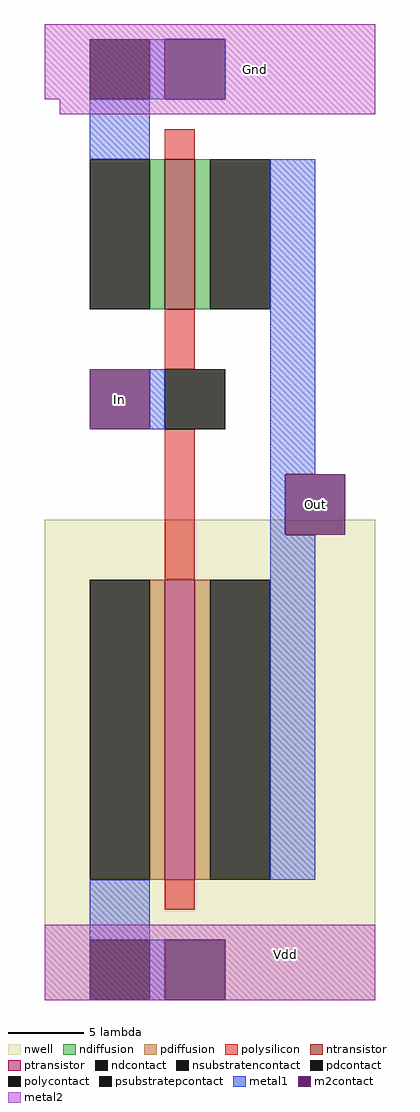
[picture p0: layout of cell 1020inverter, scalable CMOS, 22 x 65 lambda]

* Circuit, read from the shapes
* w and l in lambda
.subckt 1020inverter Gnd In Out Vdd
M1 Out In Gnd Gnd nfet w=10 l=2
M2 Out In Vdd Vdd pfet w=20 l=2
.ends

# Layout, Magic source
magic
tech scmos
<< nwell >>
rect -20 -12 2 20
<< polysilicon >>
rect -12 44 -10 46
rect -12 30 -10 34
rect -12 16 -10 26
rect -12 -6 -10 -4
<< ndiffusion >>
rect -13 34 -12 44
rect -10 34 -9 44
<< pdiffusion >>
rect -13 -4 -12 16
rect -10 -4 -9 16
<< metal1 >>
rect -13 48 -12 52
rect -17 44 -13 48
rect -13 26 -12 30
rect -5 23 -2 44
rect -5 19 -4 23
rect -5 -4 -2 19
rect -17 -8 -13 -4
rect -13 -12 -12 -8
<< metal2 >>
rect -20 52 2 53
rect -20 48 -12 52
rect -8 48 2 52
rect -19 47 2 48
rect -20 -8 2 -7
rect -20 -12 -12 -8
rect -8 -12 2 -8
<< ntransistor >>
rect -12 34 -10 44
<< ptransistor >>
rect -12 -4 -10 16
<< polycontact >>
rect -12 26 -8 30
<< ndcontact >>
rect -17 34 -13 44
rect -9 34 -5 44
<< pdcontact >>
rect -17 -4 -13 16
rect -9 -4 -5 16
<< m2contact >>
rect -12 48 -8 52
rect -17 26 -13 30
rect -4 19 0 23
rect -12 -12 -8 -8
<< psubstratepcontact >>
rect -17 48 -13 52
<< nsubstratencontact >>
rect -17 -12 -13 -8
<< labels >>
rlabel metal2 -4 -9 -4 -9 1 Vdd
rlabel metal2 -6 50 -6 50 5 Gnd
rlabel m2contact -2 21 -2 21 7 Out
rlabel m2contact -15 28 -15 28 3 In
<< end >>
